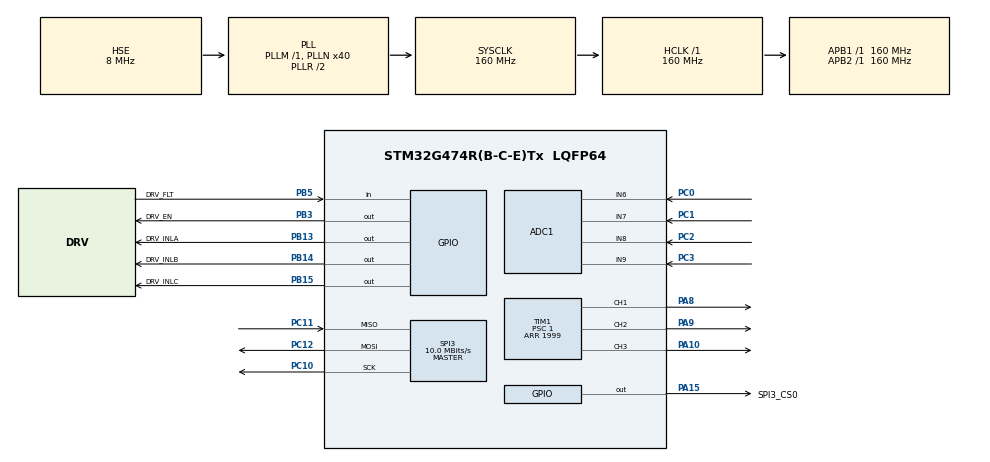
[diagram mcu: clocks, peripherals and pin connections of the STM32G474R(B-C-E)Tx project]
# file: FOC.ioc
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ADC1.Channel-0\#ChannelRegularConversion=ADC_CHANNEL_6
ADC1.Channel-1\#ChannelRegularConversion=ADC_CHANNEL_7
ADC1.Channel-2\#ChannelRegularConversion=ADC_CHANNEL_8
ADC1.Channel-3\#ChannelRegularConversion=ADC_CHANNEL_9
ADC1.ClockPrescaler=ADC_CLOCK_SYNC_PCLK_DIV4
ADC1.ContinuousConvMode=ENABLE
ADC1.DMAContinuousRequests=ENABLE
ADC1.EOCSelection=ADC_EOC_SEQ_CONV
ADC1.NbrOfConversion=4
ADC1.NbrOfConversionFlag=1
ADC1.OffsetNumber-0\#ChannelRegularConversion=ADC_OFFSET_NONE
ADC1.OffsetNumber-1\#ChannelRegularConversion=ADC_OFFSET_NONE
ADC1.OffsetNumber-2\#ChannelRegularConversion=ADC_OFFSET_NONE
ADC1.OffsetNumber-3\#ChannelRegularConversion=ADC_OFFSET_NONE
ADC1.Overrun=ADC_OVR_DATA_OVERWRITTEN
ADC1.OversamplingMode=ENABLE
ADC1.Rank-0\#ChannelRegularConversion=1
ADC1.Rank-1\#ChannelRegularConversion=2
ADC1.Rank-2\#ChannelRegularConversion=3
ADC1.Rank-3\#ChannelRegularConversion=4
ADC1.Ratio=ADC_OVERSAMPLING_RATIO_16
ADC1.SamplingTime-0\#ChannelRegularConversion=ADC_SAMPLETIME_6CYCLES_5
ADC1.SamplingTime-1\#ChannelRegularConversion=ADC_SAMPLETIME_6CYCLES_5
ADC1.SamplingTime-2\#ChannelRegularConversion=ADC_SAMPLETIME_6CYCLES_5
ADC1.SamplingTime-3\#ChannelRegularConversion=ADC_SAMPLETIME_2CYCLES_5
ADC1.master=1
Dma.ADC1.0.Direction=DMA_PERIPH_TO_MEMORY
Dma.ADC1.0.EventEnable=DISABLE
Dma.ADC1.0.Instance=DMA1_Channel1
Dma.ADC1.0.MemDataAlignment=DMA_MDATAALIGN_WORD
Dma.ADC1.0.MemInc=DMA_MINC_ENABLE
Dma.ADC1.0.Mode=DMA_CIRCULAR
Dma.ADC1.0.PeriphDataAlignment=DMA_PDATAALIGN_WORD
Dma.ADC1.0.PeriphInc=DMA_PINC_DISABLE
Dma.ADC1.0.Polarity=HAL_DMAMUX_REQ_GEN_RISING
Dma.ADC1.0.Priority=DMA_PRIORITY_HIGH
Dma.ADC1.0.RequestNumber=1
Dma.ADC1.0.SignalID=NONE
Dma.ADC1.0.SyncEnable=DISABLE
Dma.ADC1.0.SyncPolarity=HAL_DMAMUX_SYNC_NO_EVENT
Dma.ADC1.0.SyncRequestNumber=1
Dma.ADC1.0.SyncSignalID=NONE
Dma.Request0=ADC1
Mcu.Family=STM32G4
Mcu.Name=STM32G474R(B-C-E)Tx
Mcu.Package=LQFP64
NVIC.DMA1_Channel1_IRQn=true\:0\:0\:false\:false\:true\:false\:true\:true
NVIC.PriorityGroup=NVIC_PRIORITYGROUP_4
NVIC.SPI3_IRQn=true\:0\:0\:false\:false\:true\:true\:true\:true
NVIC.TIM1_UP_TIM16_IRQn=true\:1\:0\:true\:false\:true\:true\:true\:true
NVIC.TIM7_DAC_IRQn=true\:1\:0\:true\:false\:true\:true\:true\:true
PA10.Signal=S_TIM1_CH3
PA13.Mode=Serial_Wire
PA13.Signal=SYS_JTMS-SWDIO
PA14.Mode=Serial_Wire
PA14.Signal=SYS_JTCK-SWCLK
PA15.GPIO_Label=SPI3_CS0
PA15.GPIO_Speed=GPIO_SPEED_FREQ_MEDIUM
PA15.Signal=GPIO_Output
PA8.Signal=S_TIM1_CH1
PA9.Signal=S_TIM1_CH2
PB13.GPIO_Label=DRV_INLA
PB13.Signal=GPIO_Output
PB14.GPIO_Label=DRV_INLB
PB14.Signal=GPIO_Output
PB15.GPIO_Label=DRV_INLC
PB15.Signal=GPIO_Output
PB3.GPIO_Label=DRV_EN
PB3.Signal=GPIO_Output
PB5.GPIO_Label=DRV_FLT
PB5.GPIO_PuPd=GPIO_PULLUP
PB5.Signal=GPIO_Input
PC0.Mode=IN6-Single-Ended
PC0.Signal=ADC1_IN6
PC1.Mode=IN7-Single-Ended
PC1.Signal=ADC1_IN7
PC10.GPIO_Speed=GPIO_SPEED_FREQ_MEDIUM
PC10.Mode=Full_Duplex_Master
PC10.Signal=SPI3_SCK
PC11.GPIO_Speed=GPIO_SPEED_FREQ_MEDIUM
PC11.Mode=Full_Duplex_Master
PC11.Signal=SPI3_MISO
PC12.GPIO_Speed=GPIO_SPEED_FREQ_MEDIUM
PC12.Mode=Full_Duplex_Master
PC12.Signal=SPI3_MOSI
PC2.Mode=IN8-Single-Ended
PC2.Signal=ADC1_IN8
PC3.Mode=IN9-Single-Ended
PC3.Signal=ADC1_IN9
PF0-OSC_IN.Mode=HSE-External-Oscillator
PF0-OSC_IN.Signal=RCC_OSC_IN
PF1-OSC_OUT.Mode=HSE-External-Oscillator
PF1-OSC_OUT.Signal=RCC_OSC_OUT
ProjectManager.HeapSize=0x2000
ProjectManager.StackSize=0x4000
ProjectManager.TargetToolchain=EWARM V8
RCC.ADC12Freq_Value=160000000
RCC.ADC345Freq_Value=160000000
RCC.AHBFreq_Value=160000000
RCC.APB1Freq_Value=160000000
RCC.APB1TimFreq_Value=160000000
RCC.APB2Freq_Value=160000000
RCC.APB2TimFreq_Value=160000000
RCC.CortexFreq_Value=160000000
RCC.EXTERNAL_CLOCK_VALUE=12288000
RCC.HCLKFreq_Value=160000000
RCC.HSE_VALUE=8000000
RCC.HSI48_VALUE=48000000
RCC.HSI_VALUE=16000000
RCC.LSE_VALUE=32768
RCC.PLLN=40
RCC.PLLSourceVirtual=RCC_PLLSOURCE_HSE
RCC.SYSCLKFreq_VALUE=160000000
RCC.SYSCLKSource=RCC_SYSCLKSOURCE_PLLCLK
RCC.USBFreq_Value=160000000
RCC.VCOOutputFreq_Value=320000000
SH.S_TIM1_CH1.0=TIM1_CH1,PWM Generation1 CH1
SH.S_TIM1_CH2.0=TIM1_CH2,PWM Generation2 CH2
SH.S_TIM1_CH3.0=TIM1_CH3,PWM Generation3 CH3
SPI3.BaudRatePrescaler=SPI_BAUDRATEPRESCALER_16
SPI3.CLKPhase=SPI_PHASE_2EDGE
SPI3.CalculateBaudRate=10.0 MBits/s
SPI3.DataSize=SPI_DATASIZE_16BIT
SPI3.Direction=SPI_DIRECTION_2LINES
SPI3.Mode=SPI_MODE_MASTER
SPI3.VirtualType=VM_MASTER
TIM1.Channel-PWM\ Generation1\ CH1=TIM_CHANNEL_1
TIM1.Channel-PWM\ Generation2\ CH2=TIM_CHANNEL_2
TIM1.Channel-PWM\ Generation3\ CH3=TIM_CHANNEL_3
TIM1.PeriodNoDither=1999
TIM1.Prescaler=1
TIM7.PeriodNoDither=50000
TIM7.Prescaler=160
VP_CORDIC_VS_CORDIC.Mode=CORDIC_Activate
VP_SYS_VS_DBSignals.Mode=DisableDeadBatterySignals
VP_TIM7_VS_ClockSourceINT.Mode=Enable_Timer
board=custom

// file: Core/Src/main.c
/* USER CODE BEGIN Header */
/**
  ******************************************************************************
  * @file           : main.c
  * @brief          : Main program body
  ******************************************************************************
  * @attention
  *
  * Copyright (c) 2023 STMicroelectronics.
  * All rights reserved.
  *
  * This software is licensed under terms that can be found in the LICENSE file
  * in the root directory of this software component.
  * If no LICENSE file comes with this software, it is provided AS-IS.
  *
  ******************************************************************************
  */
/* USER CODE END Header */
#include "main.h"

/* USER CODE BEGIN Includes */
#include "AS5147.h"
#include "arm_math.h"
#include "my_helpers.h"

#include "Transform.h"
#include "math_ops.h"
/* USER CODE END Includes */

/* USER CODE BEGIN PTD */
typedef struct
{
  float I_A;
  float I_B;
  float I_C;
  float I_D;
  float I_Q;
  float busV;
} Inverter_instance;

typedef enum {
  FOC, // main working mode
  ROTATE, // motor calibration mode
  CURRENT // set electrical angle to PI
} drive_modes ;
/* USER CODE END PTD */

/* USER CODE BEGIN PD */
#define CPR 16384 // encoder Counts-Per-Revolution
#define ppairs 20u // number of motor rotor pole pairs
/* USER CODE END PD */

ADC_HandleTypeDef hadc1;
DMA_HandleTypeDef hdma_adc1;

TIM_HandleTypeDef htim1;
TIM_HandleTypeDef htim7;

/* USER CODE BEGIN PV */
extern uint64_t TIM7_ITs;

float IA_offset = 0.0f;
float IB_offset = 0.0f;
float IC_offset = 0.0f;

#define ADC_buf_size 4
uint32_t ADC1_buf[ADC_buf_size] = {0};

uint32_t SPI3_CS_PIN = SPI3_CS0_Pin;
GPIO_TypeDef * SPI3_CS_PORT = SPI3_CS0_GPIO_Port;

// these values are for references only. you should run a calibration procedure for your setup.
config_struct manual_data = {
  .lookup = {-5,-6,-7,-9,-10,-12,-13,-15,-16,-18,-19,-20,-21,-21,-22,-22,-21,-21,-20,-19,-18,-17,-16,-15,-14,-13,-13,-12,-11,-11,-11,-12,-12,-13,-14,-15,-16,-17,-19,-20,-21,-21,-22,-22,-22,-22,-21,-20,-19,-17,-15,-13,-11,-9,-8,-6,-4,-3,-2,-2,-2,-3,-4,-5,-7,-9,-11,-14,-16,-18,-21,-23,-25,-26,-27,-28,-28,-28,-27,-26,-25,-23,-22,-20,-18,-17,-15,-14,-13,-13,-13,-13,-13,-14,-15,-16,-17,-19,-20,-21,-22,-23,-24,-24,-24,-24,-23,-22,-21,-19,-18,-16,-14,-12,-10,-8,-7,-5,-4,-3,-2,-2,-1,-1,-2,-2,-3,-4},
  .elec_offset = 775,
  .gear_ratio = 1,
};

config_struct * config = &manual_data;
float ext_enc_mech_zero = 0.0f;

uint16_t SPI_TX_MSG = ANGLECOM | 0x4000 | 0x8000; // SPI TX message to encoder.

uint16_t encoder_raw_angle = 0; // stores the most recent reading from the encoder

// structures to store drive variables
DriverState_instance Dev = { .State = FOC }; // see drive_modes
Inverter_instance Inv;
/* USER CODE END PV */

void SystemClock_Config(void);
static void MX_GPIO_Init(void);
static void MX_DMA_Init(void);
static void MX_ADC1_Init(void);
static void MX_SPI3_Init(void);
static void MX_CORDIC_Init(void);
static void MX_TIM1_Init(void);
static void MX_TIM7_Init(void);
/* USER CODE BEGIN PFP */
#if defined ( __ICCARM__ ) /*!< IAR Compiler */
#pragma optimize s=none
uint64_t micros()
#elif defined ( __GNUC__ ) /*!< GNU Compiler */
uint64_t __attribute__((optimize("O0"))) micros()
#endif
{
  return (uint64_t)(__HAL_TIM_GET_COUNTER(&htim7) + 50000u * TIM7_ITs);
}

#if defined ( __ICCARM__ ) /*!< IAR Compiler */
#pragma optimize s=none
void micros_delay( uint64_t delay )
#elif defined ( __GNUC__ ) /*!< GNU Compiler */
void __attribute__((optimize("O0"))) micros_delay( uint64_t delay )
#endif
{
  uint64_t timestamp = micros();
  while( micros() < timestamp + delay );
}

float mfmod(float x, float y) { return x-((int)(x/y))*y; };
void calibration_sequence(void);
/* USER CODE END PFP */

int main(void)
{

  /* MCU Configuration--------------------------------------------------------*/

  /* Reset of all peripherals, Initializes the Flash interface and the Systick. */
  HAL_Init();

  /* Configure the system clock */
  SystemClock_Config();

  /* Initialize all configured peripherals */
  MX_GPIO_Init();
  MX_DMA_Init();
  MX_ADC1_Init();
  MX_SPI3_Init();
  MX_CORDIC_Init();
  MX_TIM1_Init();
  MX_TIM7_Init();
  /* USER CODE BEGIN 2 */
  HAL_TIM_Base_Start_IT(&htim7); // enable microseconds timesource

  // ADC clock settings result in ~1% error
  HAL_ADCEx_Calibration_Start(&hadc1, ADC_SINGLE_ENDED); // apply factory ADC calibration settings
  HAL_ADC_Start_DMA(&hadc1, ADC1_buf, ADC_buf_size); // enable ADC and bind DMA to the memory buffer

  float accum1 = 0.0f;
  float accum2 = 0.0f;
  float accum3 = 0.0f;
  for( int i = 0; i < 100; i++ )
  {
    micros_delay( 1000 );
    accum1 += ( 3.3f*(float)ADC1_buf[1] / ( 16.0f*4096.0f ));
    accum2 += ( 3.3f*(float)ADC1_buf[2] / ( 16.0f*4096.0f ));
    accum3 += ( 3.3f*(float)ADC1_buf[3] / ( 16.0f*4096.0f ));
  }

  IA_offset = accum1 / 100.0f;
  IB_offset = accum2 / 100.0f;
  IC_offset = accum3 / 100.0f;

  // Configure CORDIC for fast calculation of sine & cosine for FOC transform functions. Offloads CPU.
  LL_CORDIC_Config(CORDIC, LL_CORDIC_FUNCTION_COSINE,   // cosine function
                           LL_CORDIC_PRECISION_6CYCLES, // max precision for q1.31 cosine
                           LL_CORDIC_SCALE_0,           // no scale
                           LL_CORDIC_NBWRITE_1,         // One input data: angle. Second input data (modulus) is 1 after cordic reset
                           LL_CORDIC_NBREAD_2,          // Two output data: cosine, then sine
                           LL_CORDIC_INSIZE_32BITS,     // q1.31 format for input data
                           LL_CORDIC_OUTSIZE_32BITS);   // q1.31 format for output data

  // bind motor encoder
  SPI3_CS_PIN = SPI3_CS0_Pin;
  SPI3_CS_PORT = SPI3_CS0_GPIO_Port;

  // enable SPI3 peripheral for encoder
  LL_SPI_Enable(SPI3);

  // enable DRV8328B driver IC
  LL_GPIO_SetOutputPin(DRV_INLA_GPIO_Port, DRV_INLA_Pin);
  LL_GPIO_SetOutputPin(DRV_INLB_GPIO_Port, DRV_INLB_Pin);
  LL_GPIO_SetOutputPin(DRV_INLC_GPIO_Port, DRV_INLC_Pin);

  // cycle a few times (simetimes driver does not want to start right away)
  for( int i = 0; i < 3; i++)
  {
    LL_GPIO_ResetOutputPin(DRV_EN_GPIO_Port, DRV_EN_Pin);
    micros_delay(10000);
    LL_GPIO_SetOutputPin(DRV_EN_GPIO_Port, DRV_EN_Pin);
    micros_delay(10000);
  }

  // enable PWM generation for motor control
  HAL_TIM_PWM_Start(&htim1, TIM_CHANNEL_1); // A-phase
  HAL_TIM_PWM_Start(&htim1, TIM_CHANNEL_2); // B-phase
  HAL_TIM_PWM_Start(&htim1, TIM_CHANNEL_3); // C-phase

  // run encoder calibration sequense if needed
  if( Dev.State == ROTATE )
  {
    __HAL_TIM_DISABLE_IT(&htim1, TIM_IT_UPDATE);
    calibration_sequence();
  }

  // enable SPI RX-Not-Empty interrupt. Encoder angle is read in interrupt now.
  LL_SPI_EnableIT_RXNE(SPI3);

  // enable HAL_TIM_PeriodElapsedCallback. All realtime motor-controll calculations should be processed in this callback.
  __HAL_TIM_ENABLE_IT(&htim1, TIM_IT_UPDATE);

  /* USER CODE END 2 */

  /* Infinite loop */
  while (1)
  {

  }
}

void SystemClock_Config(void)
{
  RCC_OscInitTypeDef RCC_OscInitStruct = {0};
  RCC_ClkInitTypeDef RCC_ClkInitStruct = {0};

  /** Configure the main internal regulator output voltage
  */
  HAL_PWREx_ControlVoltageScaling(PWR_REGULATOR_VOLTAGE_SCALE1_BOOST);

  /** Initializes the RCC Oscillators according to the specified parameters
  * in the RCC_OscInitTypeDef structure.
  */
  RCC_OscInitStruct.OscillatorType = RCC_OSCILLATORTYPE_HSE;
  RCC_OscInitStruct.HSEState = RCC_HSE_ON;
  RCC_OscInitStruct.PLL.PLLState = RCC_PLL_ON;
  RCC_OscInitStruct.PLL.PLLSource = RCC_PLLSOURCE_HSE;
  RCC_OscInitStruct.PLL.PLLM = RCC_PLLM_DIV1;
  RCC_OscInitStruct.PLL.PLLN = 40;
  RCC_OscInitStruct.PLL.PLLP = RCC_PLLP_DIV2;
  RCC_OscInitStruct.PLL.PLLQ = RCC_PLLQ_DIV2;
  RCC_OscInitStruct.PLL.PLLR = RCC_PLLR_DIV2;
  if (HAL_RCC_OscConfig(&RCC_OscInitStruct) != HAL_OK)
  {
    Error_Handler();
  }

  /** Initializes the CPU, AHB and APB buses clocks
  */
  RCC_ClkInitStruct.ClockType = RCC_CLOCKTYPE_HCLK|RCC_CLOCKTYPE_SYSCLK
                              |RCC_CLOCKTYPE_PCLK1|RCC_CLOCKTYPE_PCLK2;
  RCC_ClkInitStruct.SYSCLKSource = RCC_SYSCLKSOURCE_PLLCLK;
  RCC_ClkInitStruct.AHBCLKDivider = RCC_SYSCLK_DIV1;
  RCC_ClkInitStruct.APB1CLKDivider = RCC_HCLK_DIV1;
  RCC_ClkInitStruct.APB2CLKDivider = RCC_HCLK_DIV1;

  if (HAL_RCC_ClockConfig(&RCC_ClkInitStruct, FLASH_LATENCY_4) != HAL_OK)
  {
    Error_Handler();
  }
}

static void MX_ADC1_Init(void)
{

  ADC_MultiModeTypeDef multimode = {0};
  ADC_ChannelConfTypeDef sConfig = {0};

  /** Common config
  */
  hadc1.Instance = ADC1;
  hadc1.Init.ClockPrescaler = ADC_CLOCK_SYNC_PCLK_DIV4;
  hadc1.Init.Resolution = ADC_RESOLUTION_12B;
  hadc1.Init.DataAlign = ADC_DATAALIGN_RIGHT;
  hadc1.Init.GainCompensation = 0;
  hadc1.Init.ScanConvMode = ADC_SCAN_ENABLE;
  hadc1.Init.EOCSelection = ADC_EOC_SEQ_CONV;
  hadc1.Init.LowPowerAutoWait = DISABLE;
  hadc1.Init.ContinuousConvMode = ENABLE;
  hadc1.Init.NbrOfConversion = 4;
  hadc1.Init.DiscontinuousConvMode = DISABLE;
  hadc1.Init.ExternalTrigConv = ADC_SOFTWARE_START;
  hadc1.Init.ExternalTrigConvEdge = ADC_EXTERNALTRIGCONVEDGE_NONE;
  hadc1.Init.DMAContinuousRequests = ENABLE;
  hadc1.Init.Overrun = ADC_OVR_DATA_OVERWRITTEN;
  hadc1.Init.OversamplingMode = ENABLE;
  hadc1.Init.Oversampling.Ratio = ADC_OVERSAMPLING_RATIO_16;
  hadc1.Init.Oversampling.RightBitShift = ADC_RIGHTBITSHIFT_NONE;
  hadc1.Init.Oversampling.TriggeredMode = ADC_TRIGGEREDMODE_SINGLE_TRIGGER;
  hadc1.Init.Oversampling.OversamplingStopReset = ADC_REGOVERSAMPLING_CONTINUED_MODE;
  if (HAL_ADC_Init(&hadc1) != HAL_OK)
  {
    Error_Handler();
  }

  /** Configure the ADC multi-mode
  */
  multimode.Mode = ADC_MODE_INDEPENDENT;
  if (HAL_ADCEx_MultiModeConfigChannel(&hadc1, &multimode) != HAL_OK)
  {
    Error_Handler();
  }

  /** Configure Regular Channel
  */
  sConfig.Channel = ADC_CHANNEL_6;
  sConfig.Rank = ADC_REGULAR_RANK_1;
  sConfig.SamplingTime = ADC_SAMPLETIME_6CYCLES_5;
  sConfig.SingleDiff = ADC_SINGLE_ENDED;
  sConfig.OffsetNumber = ADC_OFFSET_NONE;
  sConfig.Offset = 0;
  if (HAL_ADC_ConfigChannel(&hadc1, &sConfig) != HAL_OK)
  {
    Error_Handler();
  }

  /** Configure Regular Channel
  */
  sConfig.Channel = ADC_CHANNEL_7;
  sConfig.Rank = ADC_REGULAR_RANK_2;
  if (HAL_ADC_ConfigChannel(&hadc1, &sConfig) != HAL_OK)
  {
    Error_Handler();
  }

  /** Configure Regular Channel
  */
  sConfig.Channel = ADC_CHANNEL_8;
  sConfig.Rank = ADC_REGULAR_RANK_3;
  if (HAL_ADC_ConfigChannel(&hadc1, &sConfig) != HAL_OK)
  {
    Error_Handler();
  }

  /** Configure Regular Channel
  */
  sConfig.Channel = ADC_CHANNEL_9;
  sConfig.Rank = ADC_REGULAR_RANK_4;
  sConfig.SamplingTime = ADC_SAMPLETIME_2CYCLES_5;
  if (HAL_ADC_ConfigChannel(&hadc1, &sConfig) != HAL_OK)
  {
    Error_Handler();
  }

}

static void MX_CORDIC_Init(void)
{

  /* Peripheral clock enable */
  LL_AHB1_GRP1_EnableClock(LL_AHB1_GRP1_PERIPH_CORDIC);

  /* nothing else to be configured */

}

static void MX_SPI3_Init(void)
{

  LL_SPI_InitTypeDef SPI_InitStruct = {0};

  LL_GPIO_InitTypeDef GPIO_InitStruct = {0};

  /* Peripheral clock enable */
  LL_APB1_GRP1_EnableClock(LL_APB1_GRP1_PERIPH_SPI3);

  LL_AHB2_GRP1_EnableClock(LL_AHB2_GRP1_PERIPH_GPIOC);
  /**SPI3 GPIO Configuration
  PC10   ------> SPI3_SCK
  PC11   ------> SPI3_MISO
  PC12   ------> SPI3_MOSI
  */
  GPIO_InitStruct.Pin = LL_GPIO_PIN_10;
  GPIO_InitStruct.Mode = LL_GPIO_MODE_ALTERNATE;
  GPIO_InitStruct.Speed = LL_GPIO_SPEED_FREQ_MEDIUM;
  GPIO_InitStruct.OutputType = LL_GPIO_OUTPUT_PUSHPULL;
  GPIO_InitStruct.Pull = LL_GPIO_PULL_NO;
  GPIO_InitStruct.Alternate = LL_GPIO_AF_6;
  LL_GPIO_Init(GPIOC, &GPIO_InitStruct);

  GPIO_InitStruct.Pin = LL_GPIO_PIN_11;
  GPIO_InitStruct.Mode = LL_GPIO_MODE_ALTERNATE;
  GPIO_InitStruct.Speed = LL_GPIO_SPEED_FREQ_MEDIUM;
  GPIO_InitStruct.OutputType = LL_GPIO_OUTPUT_PUSHPULL;
  GPIO_InitStruct.Pull = LL_GPIO_PULL_NO;
  GPIO_InitStruct.Alternate = LL_GPIO_AF_6;
  LL_GPIO_Init(GPIOC, &GPIO_InitStruct);

  GPIO_InitStruct.Pin = LL_GPIO_PIN_12;
  GPIO_InitStruct.Mode = LL_GPIO_MODE_ALTERNATE;
  GPIO_InitStruct.Speed = LL_GPIO_SPEED_FREQ_MEDIUM;
  GPIO_InitStruct.OutputType = LL_GPIO_OUTPUT_PUSHPULL;
  GPIO_InitStruct.Pull = LL_GPIO_PULL_NO;
  GPIO_InitStruct.Alternate = LL_GPIO_AF_6;
  LL_GPIO_Init(GPIOC, &GPIO_InitStruct);

  /* SPI3 interrupt Init */
  NVIC_SetPriority(SPI3_IRQn, NVIC_EncodePriority(NVIC_GetPriorityGrouping(),0, 0));
  NVIC_EnableIRQ(SPI3_IRQn);

  /* SPI3 parameter configuration*/
  SPI_InitStruct.TransferDirection = LL_SPI_FULL_DUPLEX;
  SPI_InitStruct.Mode = LL_SPI_MODE_MASTER;
  SPI_InitStruct.DataWidth = LL_SPI_DATAWIDTH_16BIT;
  SPI_InitStruct.ClockPolarity = LL_SPI_POLARITY_LOW;
  SPI_InitStruct.ClockPhase = LL_SPI_PHASE_2EDGE;
  SPI_InitStruct.NSS = LL_SPI_NSS_SOFT;
  SPI_InitStruct.BaudRate = LL_SPI_BAUDRATEPRESCALER_DIV16;
  SPI_InitStruct.BitOrder = LL_SPI_MSB_FIRST;
  SPI_InitStruct.CRCCalculation = LL_SPI_CRCCALCULATION_DISABLE;
  SPI_InitStruct.CRCPoly = 7;
  LL_SPI_Init(SPI3, &SPI_InitStruct);
  LL_SPI_SetStandard(SPI3, LL_SPI_PROTOCOL_MOTOROLA);
  LL_SPI_DisableNSSPulseMgt(SPI3);

}

static void MX_TIM1_Init(void)
{

  TIM_MasterConfigTypeDef sMasterConfig = {0};
  TIM_OC_InitTypeDef sConfigOC = {0};
  TIM_BreakDeadTimeConfigTypeDef sBreakDeadTimeConfig = {0};

  htim1.Instance = TIM1;
  htim1.Init.Prescaler = 1;
  htim1.Init.CounterMode = TIM_COUNTERMODE_UP;
  htim1.Init.Period = 1999;
  htim1.Init.ClockDivision = TIM_CLOCKDIVISION_DIV1;
  htim1.Init.RepetitionCounter = 0;
  htim1.Init.AutoReloadPreload = TIM_AUTORELOAD_PRELOAD_DISABLE;
  if (HAL_TIM_PWM_Init(&htim1) != HAL_OK)
  {
    Error_Handler();
  }
  sMasterConfig.MasterOutputTrigger = TIM_TRGO_RESET;
  sMasterConfig.MasterOutputTrigger2 = TIM_TRGO2_RESET;
  sMasterConfig.MasterSlaveMode = TIM_MASTERSLAVEMODE_DISABLE;
  if (HAL_TIMEx_MasterConfigSynchronization(&htim1, &sMasterConfig) != HAL_OK)
  {
    Error_Handler();
  }
  sConfigOC.OCMode = TIM_OCMODE_PWM1;
  sConfigOC.Pulse = 0;
  sConfigOC.OCPolarity = TIM_OCPOLARITY_HIGH;
  sConfigOC.OCNPolarity = TIM_OCNPOLARITY_HIGH;
  sConfigOC.OCFastMode = TIM_OCFAST_DISABLE;
  sConfigOC.OCIdleState = TIM_OCIDLESTATE_RESET;
  sConfigOC.OCNIdleState = TIM_OCNIDLESTATE_RESET;
  if (HAL_TIM_PWM_ConfigChannel(&htim1, &sConfigOC, TIM_CHANNEL_1) != HAL_OK)
  {
    Error_Handler();
  }
  if (HAL_TIM_PWM_ConfigChannel(&htim1, &sConfigOC, TIM_CHANNEL_2) != HAL_OK)
  {
    Error_Handler();
  }
  if (HAL_TIM_PWM_ConfigChannel(&htim1, &sConfigOC, TIM_CHANNEL_3) != HAL_OK)
  {
    Error_Handler();
  }
  sBreakDeadTimeConfig.OffStateRunMode = TIM_OSSR_DISABLE;
  sBreakDeadTimeConfig.OffStateIDLEMode = TIM_OSSI_DISABLE;
  sBreakDeadTimeConfig.LockLevel = TIM_LOCKLEVEL_OFF;
  sBreakDeadTimeConfig.DeadTime = 0;
  sBreakDeadTimeConfig.BreakState = TIM_BREAK_DISABLE;
  sBreakDeadTimeConfig.BreakPolarity = TIM_BREAKPOLARITY_HIGH;
  sBreakDeadTimeConfig.BreakFilter = 0;
  sBreakDeadTimeConfig.BreakAFMode = TIM_BREAK_AFMODE_INPUT;
  sBreakDeadTimeConfig.Break2State = TIM_BREAK2_DISABLE;
  sBreakDeadTimeConfig.Break2Polarity = TIM_BREAK2POLARITY_HIGH;
  sBreakDeadTimeConfig.Break2Filter = 0;
  sBreakDeadTimeConfig.Break2AFMode = TIM_BREAK_AFMODE_INPUT;
  sBreakDeadTimeConfig.AutomaticOutput = TIM_AUTOMATICOUTPUT_DISABLE;
  if (HAL_TIMEx_ConfigBreakDeadTime(&htim1, &sBreakDeadTimeConfig) != HAL_OK)
  {
    Error_Handler();
  }
  HAL_TIM_MspPostInit(&htim1);

}

static void MX_TIM7_Init(void)
{

  TIM_MasterConfigTypeDef sMasterConfig = {0};

  htim7.Instance = TIM7;
  htim7.Init.Prescaler = 160;
  htim7.Init.CounterMode = TIM_COUNTERMODE_UP;
  htim7.Init.Period = 50000;
  htim7.Init.AutoReloadPreload = TIM_AUTORELOAD_PRELOAD_DISABLE;
  if (HAL_TIM_Base_Init(&htim7) != HAL_OK)
  {
    Error_Handler();
  }
  sMasterConfig.MasterOutputTrigger = TIM_TRGO_RESET;
  sMasterConfig.MasterSlaveMode = TIM_MASTERSLAVEMODE_DISABLE;
  if (HAL_TIMEx_MasterConfigSynchronization(&htim7, &sMasterConfig) != HAL_OK)
  {
    Error_Handler();
  }

}

static void MX_DMA_Init(void)
{

  /* DMA controller clock enable */
  __HAL_RCC_DMAMUX1_CLK_ENABLE();
  __HAL_RCC_DMA1_CLK_ENABLE();

  /* DMA interrupt init */
  /* DMA1_Channel1_IRQn interrupt configuration */
  HAL_NVIC_SetPriority(DMA1_Channel1_IRQn, 0, 0);
  HAL_NVIC_EnableIRQ(DMA1_Channel1_IRQn);

}

static void MX_GPIO_Init(void)
{
  LL_GPIO_InitTypeDef GPIO_InitStruct = {0};

  /* GPIO Ports Clock Enable */
  LL_AHB2_GRP1_EnableClock(LL_AHB2_GRP1_PERIPH_GPIOF);
  LL_AHB2_GRP1_EnableClock(LL_AHB2_GRP1_PERIPH_GPIOC);
  LL_AHB2_GRP1_EnableClock(LL_AHB2_GRP1_PERIPH_GPIOB);
  LL_AHB2_GRP1_EnableClock(LL_AHB2_GRP1_PERIPH_GPIOA);

  /**/
  LL_GPIO_ResetOutputPin(DRV_INLA_GPIO_Port, DRV_INLA_Pin);

  /**/
  LL_GPIO_ResetOutputPin(DRV_INLB_GPIO_Port, DRV_INLB_Pin);

  /**/
  LL_GPIO_ResetOutputPin(DRV_INLC_GPIO_Port, DRV_INLC_Pin);

  /**/
  LL_GPIO_ResetOutputPin(SPI3_CS0_GPIO_Port, SPI3_CS0_Pin);

  /**/
  LL_GPIO_ResetOutputPin(DRV_EN_GPIO_Port, DRV_EN_Pin);

  /**/
  GPIO_InitStruct.Pin = DRV_INLA_Pin;
  GPIO_InitStruct.Mode = LL_GPIO_MODE_OUTPUT;
  GPIO_InitStruct.Speed = LL_GPIO_SPEED_FREQ_LOW;
  GPIO_InitStruct.OutputType = LL_GPIO_OUTPUT_PUSHPULL;
  GPIO_InitStruct.Pull = LL_GPIO_PULL_NO;
  LL_GPIO_Init(DRV_INLA_GPIO_Port, &GPIO_InitStruct);

  /**/
  GPIO_InitStruct.Pin = DRV_INLB_Pin;
  GPIO_InitStruct.Mode = LL_GPIO_MODE_OUTPUT;
  GPIO_InitStruct.Speed = LL_GPIO_SPEED_FREQ_LOW;
  GPIO_InitStruct.OutputType = LL_GPIO_OUTPUT_PUSHPULL;
  GPIO_InitStruct.Pull = LL_GPIO_PULL_NO;
  LL_GPIO_Init(DRV_INLB_GPIO_Port, &GPIO_InitStruct);

  /**/
  GPIO_InitStruct.Pin = DRV_INLC_Pin;
  GPIO_InitStruct.Mode = LL_GPIO_MODE_OUTPUT;
  GPIO_InitStruct.Speed = LL_GPIO_SPEED_FREQ_LOW;
  GPIO_InitStruct.OutputType = LL_GPIO_OUTPUT_PUSHPULL;
  GPIO_InitStruct.Pull = LL_GPIO_PULL_NO;
  LL_GPIO_Init(DRV_INLC_GPIO_Port, &GPIO_InitStruct);

  /**/
  GPIO_InitStruct.Pin = SPI3_CS0_Pin;
  GPIO_InitStruct.Mode = LL_GPIO_MODE_OUTPUT;
  GPIO_InitStruct.Speed = LL_GPIO_SPEED_FREQ_MEDIUM;
  GPIO_InitStruct.OutputType = LL_GPIO_OUTPUT_PUSHPULL;
  GPIO_InitStruct.Pull = LL_GPIO_PULL_NO;
  LL_GPIO_Init(SPI3_CS0_GPIO_Port, &GPIO_InitStruct);

  /**/
  GPIO_InitStruct.Pin = DRV_EN_Pin;
  GPIO_InitStruct.Mode = LL_GPIO_MODE_OUTPUT;
  GPIO_InitStruct.Speed = LL_GPIO_SPEED_FREQ_LOW;
  GPIO_InitStruct.OutputType = LL_GPIO_OUTPUT_PUSHPULL;
  GPIO_InitStruct.Pull = LL_GPIO_PULL_NO;
  LL_GPIO_Init(DRV_EN_GPIO_Port, &GPIO_InitStruct);

  /**/
  GPIO_InitStruct.Pin = DRV_FLT_Pin;
  GPIO_InitStruct.Mode = LL_GPIO_MODE_INPUT;
  GPIO_InitStruct.Pull = LL_GPIO_PULL_UP;
  LL_GPIO_Init(DRV_FLT_GPIO_Port, &GPIO_InitStruct);

}

/* USER CODE BEGIN 4 */
float naive_velocity = 0.0f;

// https://hrcak.srce.hr/6760
void CalculateAngles(int32_t raw_angle, DriverState_instance *Driver)
{
  const float a = 0.0f; // expected acceleration, rad/s^2
  const float T = 25E-6; // encoder value sampling period, s

  const float g1 = 0.1f; // 0.015f;
  const float g2 = 75.0f; // 3.8f;
  const float g3 = 1000.0f; // 390.0f;

  static float Th_hat = 0.0f; // Theta hat, rad
  static float W_hat = 0.0f; // Omega hat, rad/s
  static float E_hat = 0.0f; // Epsilon hat, rad/s^2

  static float old_angle = 0.0f;

  // compensate encoder-magnet nonlinearity  error
  if( Driver->State != ROTATE )
  {
    raw_angle += config->lookup[raw_angle >> 8];
  }

  // elec_offset shows differense between encoder zero-point and electrical angle of Pi,
  // to get the electrical angle value we need to subtract this Pi = CPR/(2*ppairs) in electrical radians
  raw_angle += config->elec_offset;
  raw_angle -= CPR/(2*ppairs);

  // limit the angle within the [0; CPR] segment
  if( raw_angle > (CPR-1) ) {
    raw_angle -= CPR;
  }
  else if( raw_angle < 0 ) {
    raw_angle += CPR;
  }

  // rotor angular position calculation
  float mech_theta = raw_angle * (2.0f*PI/(float)CPR);

  // all this is floating-point math.
  // (11)
  float nTh = Th_hat + W_hat*T + ( E_hat + a )*(T*T)/2.0f;
  float nW = W_hat + ( E_hat + a )*T;
  float nE = E_hat;

  // limit the angle within the [0; 2Pi ) segment
  nTh = mfmod(nTh, 2.0f*PI);
  if( nTh < 0.0f ){
    nTh += 2.0f*PI;
  }

  float angle_error = mech_theta - nTh;

  // check rotation
  if( angle_error > PI ){
    angle_error -= 2.0f*PI;
  }
  else if( angle_error < -PI ){
    angle_error += 2.0f*PI;
  }

  // (19)
  Th_hat = nTh + g1*angle_error;
  W_hat = nW + g2*angle_error;
  E_hat = nE + g3*angle_error;

  // electrical theta zero matches rotor angular position zero
  const float ab = 2.0f*PI / (float)ppairs;
  Driver->ElecTheta = (float)ppairs * mfmod( nTh, ab );

  // has the rotor made a full turn?
  if( old_angle - nTh > PI ){
    Driver->RotorTurns++;
  }
  else  if( old_angle - nTh < - PI ){
    Driver->RotorTurns--;
  }
  else
  {
    naive_velocity = (nTh - old_angle)/T;
  }

  old_angle = nTh;

  Driver->RotorAngle = nTh;
  Driver->ShaftVelocity = nW / (float)config->gear_ratio;
  Driver->ShaftAngle = (nTh + (float)Driver->RotorTurns*2.0f*PI) / (float)config->gear_ratio;
}

void ProcessADC(void)
{
  // take into account ADCs x16 hardware oversamiling.
  const float curr_sns_gain = 0.045f; // V/A
  Inv.I_A = (( 3.3f*(float)ADC1_buf[1] / ( 16.0f*4096.0f )) - IA_offset ) / curr_sns_gain;
  Inv.I_B = (( 3.3f*(float)ADC1_buf[2] / ( 16.0f*4096.0f )) - IB_offset ) / curr_sns_gain;
  Inv.I_C = (( 3.3f*(float)ADC1_buf[3] / ( 16.0f*4096.0f )) - IC_offset ) / curr_sns_gain;
}

#define TORQUE_CONST 1.0f // N*m/A // wrong value
#define max_torque 30.0f

void HAL_TIM_PeriodElapsedCallback(TIM_HandleTypeDef *htim)
{
  if( htim->Instance == TIM1 )
  {
    uint16_t DQA = 0;
    uint16_t DQB = 0;
    uint16_t DQC = 0;

    // commands encoder to start waiting for new command
    LL_GPIO_ResetOutputPin(SPI3_CS_PORT, SPI3_CS_PIN);

    // convert raw encoder angle reading into floats - electrical angle, mechanical angle, speeds etc.
    CalculateAngles(encoder_raw_angle, &Dev);

    // calculate sin and cos of electrical angle with the help of CORDIC.
    // convert electrical angle from float to q31. electrical theta should be [-pi, pi]
    int32_t ElecTheta_q31 = (int32_t)((Dev.ElecTheta/PI - 1.0f) * 2147483648.0f);
    // load angle value into CORDIC. Input value is in PIs!
    LL_CORDIC_WriteData(CORDIC, ElecTheta_q31);

    // read and process ADC readings from DMA linked buffer
    ProcessADC();
    Inv.busV = 12.0f*3.3f*ADC1_buf[0] / ( 16.0f*4096.0f ); // drive input voltage

    // commutate motor windings depending on drive current state
    if( Dev.State == FOC )
    {
      static float I_d_integral = 0.0f;
      static float I_q_integral = 0.0f;

      int32_t cosOutput = (int32_t)LL_CORDIC_ReadData(CORDIC); // Read cosine
      int32_t sinOutput = (int32_t)LL_CORDIC_ReadData(CORDIC); // Read sine

      // the values are negative to level out [-pi, pi] representation of electrical angle at the CORDIC input
      float c = -(float32_t)cosOutput / 2147483648.0f; // convert to float from q31
      float s = -(float32_t)sinOutput / 2147483648.0f; // convert to float from q31

      // LPF for motor current
      float tempD = Inv.I_D;
      float tempQ = Inv.I_Q;
      dq0(s, c, Inv.I_A, Inv.I_B, Inv.I_C, &tempD, &tempQ);    //dq0 transform on currents
      Inv.I_D = Inv.I_D - (0.0925f * (Inv.I_D - tempD));
      Inv.I_Q = Inv.I_Q - (0.0925f * (Inv.I_Q - tempQ));

      Dev.ShaftTorque = Inv.I_Q * TORQUE_CONST * (float)config->gear_ratio;

      float i_d_set = 0.0f;
      float i_q_set = (-1.0f/TORQUE_CONST)*( Dev.mech_gain*(Dev.mech_SetP - Dev.ShaftAngle) + Dev.vel_gain*(Dev.vel_SetP - Dev.ShaftVelocity) + (Dev.torq_SetP / (float)config->gear_ratio) ); // Kp[Amp/rad], Kd[Amp/rad*s]

      if( i_q_set > max_torque )
      {
        i_q_set = max_torque;
      }
      else if( i_q_set < -max_torque )
      {
        i_q_set = -max_torque;
      }

      // absolute limit on currents defined by the hardware safe operation region
      if( i_q_set > 30.0f )
      {
        i_q_set = 30.0f;
      }
      else if( i_q_set < -30.0f )
      {
        i_q_set = -30.0f;
      }

      float i_d_error = i_d_set - Inv.I_D;
      float i_q_error = i_q_set - Inv.I_Q;

      I_d_integral += 0.1f*0.0455f*i_d_error;
      I_q_integral += 0.1f*0.0455f*i_q_error;

      I_d_integral = fmaxf(fminf(I_d_integral, 1.0f*Inv.busV), - 1.0f*Inv.busV);
      I_q_integral = fmaxf(fminf(I_q_integral, 1.0f*Inv.busV), - 1.0f*Inv.busV);

      float V_d = 1.0f*i_d_error + I_d_integral;// + v_d_ff;
      float V_q = 1.0f*i_q_error + I_q_integral;// + v_q_ff;

      limit_norm(&V_d, &V_q, 1.0f*Inv.busV);

      float v_u = 0, v_v = 0, v_w = 0;
      float dtc_u = 0, dtc_v = 0, dtc_w = 0;

      abc(s, c, V_d, V_q, &v_u, &v_v, &v_w); //inverse dq0 transform on voltages
      svm(Inv.busV, v_u, v_v, v_w, &dtc_u, &dtc_v, &dtc_w); //space vector modulation

      DQA = (uint16_t)(2000.0f*dtc_u);
      DQB = (uint16_t)(2000.0f*dtc_v);
      DQC = (uint16_t)(2000.0f*dtc_w);
    }
    else if( Dev.State == CURRENT )
    {
      float my_angle = 1.0f*PI;
      float s = arm_sin_f32(my_angle);
      float c = arm_cos_f32(my_angle);

      float V_d = -0.25f; // set the electrical angle to -pi, rotor should be pointing at +pi
      float V_q = 0.0f;

      float DVA = 0;
      float DVB = 0;
      float DVC = 0;

      abc(s, c, V_d, V_q, &DVA, &DVB, &DVC); //inverse dq0 transform on voltages

      DQA = 1000 + (int16_t)(1000.0f*DVA);
      DQB = 1000 + (int16_t)(1000.0f*DVB);
      DQC = 1000 + (int16_t)(1000.0f*DVC);
    }

    __HAL_TIM_SET_COMPARE(&htim1, TIM_CHANNEL_1, DQA);
    __HAL_TIM_SET_COMPARE(&htim1, TIM_CHANNEL_2, DQB);
    __HAL_TIM_SET_COMPARE(&htim1, TIM_CHANNEL_3, DQC);

    LL_SPI_TransmitData16(SPI3, SPI_TX_MSG);//load new value to transmit into SPI register i.e. initialize new receive sequence
  }

  return ;
}

float calib_elec_angle = 0;
void set_windings(void)
{
  float s = arm_sin_f32(calib_elec_angle);
  float c = arm_cos_f32(calib_elec_angle);

  const float V_d = -0.2f;
  const float V_q = 0.0f;

  float DVA, DVB, DVC;

  abc(s, c, V_d, V_q, &DVA, &DVB, &DVC); //inverse dq0 transform on voltages

  __HAL_TIM_SET_COMPARE(&htim1, TIM_CHANNEL_1, 1000 + (int16_t)(1000.0f*DVA));
  __HAL_TIM_SET_COMPARE(&htim1, TIM_CHANNEL_2, 1000 + (int16_t)(1000.0f*DVB));
  __HAL_TIM_SET_COMPARE(&htim1, TIM_CHANNEL_3, 1000 + (int16_t)(1000.0f*DVC));
}

uint8_t encoder_inversion = 0;

uint16_t get_hall_angle(void)
{
  LL_GPIO_ResetOutputPin(SPI3_CS_PORT, SPI3_CS_PIN);

  micros_delay( 10 );

  LL_SPI_TransmitData16(SPI3, SPI_TX_MSG);
  while(!LL_SPI_IsActiveFlag_RXNE(SPI3)) {};

  uint16_t RX = LL_SPI_ReceiveData16(SPI3);//read SPI receive register to obtain value and clear pending interrupt
  RX &= 0x3FFF;//leave least 14 bits

  if( encoder_inversion )
  {
    int16_t inverted_RX = -RX;
    inverted_RX += CPR;

    RX = inverted_RX;
  }

  LL_GPIO_SetOutputPin(SPI3_CS_PORT, SPI3_CS_PIN);

  micros_delay( 10 );

  return RX;
}

float radians( void )
{
  return (float)get_hall_angle() * 2.0f * PI / (float)CPR;
}

#define offset_samples_num 1024
uint16_t ppair_counter = 0;
uint16_t offset_samples[offset_samples_num] = {0};
uint16_t meas_elec_offset = 0;

float old_angle = 0.0f;
float actual_angle = 0.0f;

#if defined ( __ICCARM__ ) /*!< IAR Compiler */
#pragma optimize s=none
void calibration_sequence(void)
#elif defined ( __GNUC__ ) /*!< GNU Compiler */
void __attribute__((optimize("O0"))) calibration_sequence(void)
#endif
{
  #define cal_buf_len 1024
  float CalBuf_Fwd[cal_buf_len] = {0};
  float CalBuf_Bckwd[cal_buf_len] = {0};

  float d_delta = 0.25f*(float)ppairs*2.0*PI / (float)cal_buf_len; // calculate angle step based on data array length

  // find the zero-point of encoder
  old_angle = actual_angle = radians();
  while( (old_angle - actual_angle) < PI ) // find the encoder zero-point
  {
    old_angle = actual_angle;

    calib_elec_angle += d_delta;

    set_windings();
    HAL_Delay(5);

    actual_angle = radians();
  }

  float d_offset = calib_elec_angle;

  uint32_t timestamp = HAL_GetTick();
  old_angle = actual_angle;
  // rotate in positive direction until you make full mechanical rotation
  while( ( old_angle - actual_angle ) < PI || HAL_GetTick() < timestamp + 100 ) // f_elec_angle < 2*PI
  {
    old_angle = actual_angle;

    uint16_t index = (uint16_t)( (float)cal_buf_len*actual_angle / (2.0f*PI) );
    CalBuf_Fwd[ index ] = ( calib_elec_angle - d_offset )/ppairs - actual_angle;

    // current algorithm sometimes leaves empty values in calibration buffer
    // this part fills the upcoming array memmber with the current value, which is overwritten in case of successfull new reading
    if( index < cal_buf_len )
    {
      CalBuf_Fwd[ index + 1 ] = CalBuf_Fwd[ index ];
    }

    calib_elec_angle += d_delta;

    set_windings();
    HAL_Delay(5);

    actual_angle = radians();

    if( fabs( mfmod( calib_elec_angle, 2.0f*PI ) - PI ) < d_delta/2.0f )
    {
      offset_samples[ppair_counter] = get_hall_angle();
      ppair_counter++;
    }
  }

  for( int i = 0; i < 256; i++)
  {
    calib_elec_angle += d_delta;

    set_windings();
    HAL_Delay(5);
  }

  // find the zero-point of encoder
  old_angle = actual_angle = radians();
  while( ( old_angle - radians() ) > -PI ) // find the encoder zero-point
  {
    old_angle = actual_angle;

    calib_elec_angle -= d_delta;

    set_windings();
    HAL_Delay(5);

    actual_angle = radians();
  }

  d_offset = calib_elec_angle - (2.0f*PI)*ppairs;

  timestamp = HAL_GetTick();
  old_angle = actual_angle = radians();
  // rotate in negative direction until you return to the begining
  while( ( old_angle - actual_angle ) > -PI || HAL_GetTick() < timestamp + 100  )
  {
    old_angle = actual_angle;

    uint16_t index = (uint16_t)( (float)cal_buf_len*actual_angle / (2.0f*PI) );
    CalBuf_Bckwd[ index ] = ( calib_elec_angle - d_offset )/ppairs - actual_angle;

    // current algorithm sometimes leaves empty values in calibration buffer
    // this part fills the upcoming array memmber with the current value, which is overwritten in case of successfull new reading
    if( index > 0 )
    {
      CalBuf_Bckwd[ index - 1 ] = CalBuf_Bckwd[ index ];
    }

    calib_elec_angle -= d_delta;

    set_windings();
    HAL_Delay(5);

    actual_angle = radians();

    if( fabs( mfmod( calib_elec_angle, 2.0f*PI ) - PI ) < d_delta/2.0f )
    {
      offset_samples[ppair_counter] = get_hall_angle();
      ppair_counter++;
    }
  }

  // encoder-magnet nonlinearity compensation lookup table should be calculated here

  for( int i = 0; i < ppair_counter; i++ )
  {
    int16_t enc_angle = offset_samples[i];
    meas_elec_offset += (CPR / ppairs ) - ( enc_angle % (CPR / ppairs ) );
  }
  meas_elec_offset /= ppair_counter;

  while(1){};
}
/* USER CODE END 4 */

void Error_Handler(void)
{
  __disable_irq();
  while (1)
  {
  }
}
